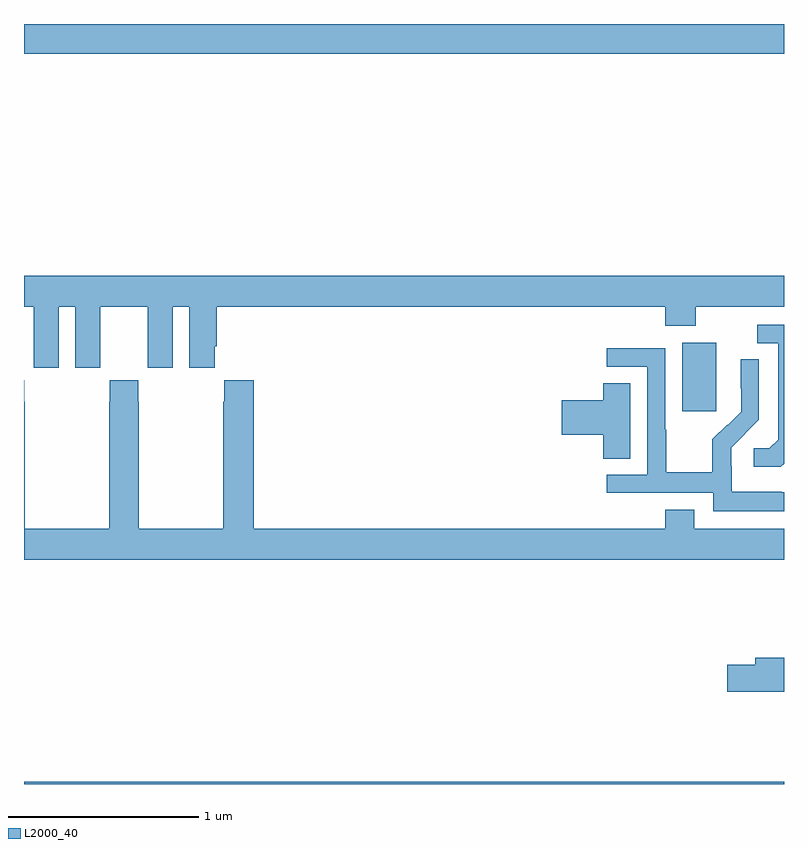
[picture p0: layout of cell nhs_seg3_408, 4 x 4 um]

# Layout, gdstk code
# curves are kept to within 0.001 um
import gdstk
lib = gdstk.Library(unit=1e-6, precision=1e-09)
def R(c, l, rs):  # rectangles x0, y0, x1, y1
    for r in rs: c.add(gdstk.rectangle(r[:2], r[2:], *l))
def P(c, l, *ps):  # polygons
    for p in ps: c.add(gdstk.Polygon(p, *l))
L2000_40 = (2000, 40)

nhs_seg3_408 = lib.new_cell('nhs_seg3_408')
R(nhs_seg3_408, L2000_40, [(131,702.4,135,702.412), (134.465,704.361,134.644,704.722), (131,706.244,135,706.4)])
P(nhs_seg3_408, L2000_40, [(131,704.912),(131.051,704.912),(131.051,704.704),(131.052,704.704),(131.052,704.592),(131.182,704.592),(131.182,704.912),(131.27,704.912),(131.27,704.592),(131.4,704.592),(131.4,704.704),(131.401,704.704),(131.401,704.912),(131.651,704.912),(131.651,704.704),(131.652,704.704),(131.652,704.592),(131.782,704.592),(131.782,704.912),(131.87,704.912),(131.87,704.592),(132.004,704.592),(132.004,704.704),(132.014,704.704),(132.014,704.912),(134.375,704.912),(134.375,704.813),(134.535,704.813),(134.535,704.912),(135,704.912),(135,705.076),(131,705.076)],
  [(135,704.085),(135,704.817),(134.859,704.817),(134.859,704.721),(134.969,704.721),(134.969,704.213),(134.922,704.166),(134.841,704.166),(134.841,704.069),(134.984,704.069)],
  [(135,703.935),(134.987,703.935),(134.987,703.939),(134.724,703.939),(134.724,704.073),(134.722,704.073),(134.722,704.17),(134.868,704.318),(134.868,704.636),(134.772,704.636),(134.772,704.482),(134.774,704.482),(134.774,704.36),(134.703,704.289),(134.7,704.292),(134.623,704.215),(134.623,704.041),(134.379,704.041),(134.379,704.264),(134.376,704.264),(134.376,704.694),(134.067,704.694),(134.067,704.595),(134.28,704.595),(134.28,704.028),(134.067,704.028),(134.067,703.932),(134.628,703.932),(134.628,703.835),(135,703.835)],
  [(135,703.744),(134.527,703.744),(134.527,703.843),(134.375,703.843),(134.375,703.744),(132.209,703.744),(132.209,704.524),(132.055,704.524),(132.055,704.411),(132.049,704.411),(132.049,703.744),(131.604,703.744),(131.604,704.411),(131.601,704.411),(131.601,704.524),(131.451,704.524),(131.451,704.411),(131.449,704.411),(131.449,703.744),(131.004,703.744),(131.004,704.411),(131.001,704.411),(131.001,704.524),(131,704.524),(131,703.58),(135,703.58)],
  [(134.191,704.51),(134.048,704.51),(134.048,704.42),(133.83,704.42),(133.83,704.237),(134.048,704.237),(134.048,704.113),(134.191,704.113)],
  [(135,703.064),(134.849,703.064),(134.849,703.028),(134.7,703.028),(134.7,702.886),(135,702.886)])

lib.write_gds('nhs_seg3_408.gds')
